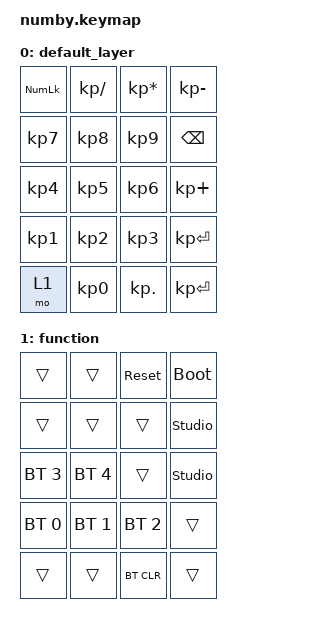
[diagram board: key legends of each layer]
/*
 * Copyright (c) 2020 The ZMK Contributors
 *
 * SPDX-License-Identifier: MIT
 */
#include <behaviors.dtsi>
#include <dt-bindings/zmk/keys.h>
#include <dt-bindings/zmk/bt.h>

/ {
    keymap {
        compatible = "zmk,keymap";

        default_layer {
//  -------------------------------------
//  | NUMLOCK     | CAPSLOCK | * | BSPC |
//  | 7           | 8        | 9 | -    |
//  | 4           | 5        | 6 | +    |
//  | 1           | 2        | 3 | =    |
//  | 0           | .        | . | =    |
            bindings = <
    &kp KP_NUM         &kp KP_SLASH    &kp KP_MULTIPLY  &kp KP_MINUS
    &kp KP_N7          &kp KP_N8       &kp KP_N9        &kp BACKSPACE
    &kp KP_N4          &kp KP_N5       &kp KP_N6        &kp KP_PLUS
    &kp KP_N1          &kp KP_N2       &kp KP_N3        &kp KP_ENTER
    &mo 1              &kp KP_N0       &kp KP_DOT       &kp KP_ENTER
        >;

        };

        function {
            bindings = <
    &trans           &trans          &sys_reset       &bootloader
    &trans           &trans          &trans           &studio_unlock
    &bt BT_SEL 3     &bt BT_SEL 4    &trans           &studio_unlock
    &bt BT_SEL 0     &bt BT_SEL 1    &bt BT_SEL 2     &trans
    &trans           &trans          &bt BT_CLR       &trans
        >;

        };

    };
};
